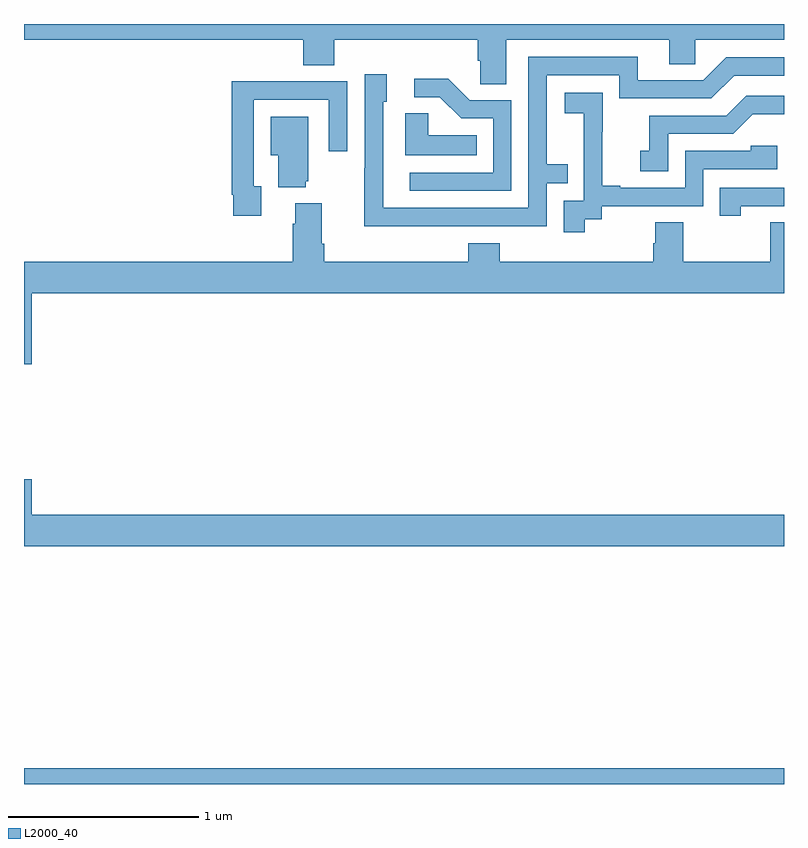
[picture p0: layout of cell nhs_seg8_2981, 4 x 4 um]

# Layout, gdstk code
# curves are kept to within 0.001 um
import gdstk
lib = gdstk.Library(unit=1e-6, precision=1e-09)
def R(c, l, rs):  # rectangles x0, y0, x1, y1
    for r in rs: c.add(gdstk.rectangle(r[:2], r[2:], *l))
def P(c, l, *ps):  # polygons
    for p in ps: c.add(gdstk.Polygon(p, *l))
L2000_40 = (2000, 40)

nhs_seg8_2981 = lib.new_cell('nhs_seg8_2981')
R(nhs_seg8_2981, L2000_40, [(297,1129.9,301,1129.984)])
P(nhs_seg8_2981, L2000_40, [(299.539,1133.816),(300.395,1133.816),(300.395,1133.689),(300.534,1133.689),(300.534,1133.816),(301,1133.816),(301,1133.9),(297,1133.9),(297,1133.816),(298.469,1133.816),(298.469,1133.683),(298.634,1133.683),(298.634,1133.816),(299.387,1133.816),(299.387,1133.707),(299.4,1133.707),(299.4,1133.584),(299.539,1133.584)],
  [(299.255,1132.836),(299.751,1132.836),(299.751,1133.061),(299.861,1133.061),(299.861,1133.162),(299.751,1133.162),(299.751,1133.631),(300.132,1133.631),(300.132,1133.508),(300.618,1133.508),(300.738,1133.628),(301,1133.628),(301,1133.724),(300.696,1133.724),(300.576,1133.604),(300.229,1133.604),(300.229,1133.727),(299.655,1133.727),(299.655,1132.932),(298.89,1132.932),(298.89,1133.49),(298.909,1133.49),(298.909,1133.635),(298.794,1133.635),(298.794,1133.141),(298.792,1133.141),(298.792,1132.835)],
  [(299.565,1133.499),(299.346,1133.499),(299.233,1133.612),(299.055,1133.612),(299.055,1133.514),(299.189,1133.514),(299.3,1133.403),(299.469,1133.403),(299.469,1133.118),(299.031,1133.118),(299.031,1133.022),(299.565,1133.022)],
  [(298.249,1133.046),(298.209,1133.046),(298.209,1133.502),(298.605,1133.502),(298.605,1133.229),(298.701,1133.229),(298.701,1133.598),(298.385,1133.598),(298.385,1133.6),(298.093,1133.6),(298.093,1133.002),(298.101,1133.002),(298.101,1132.89),(298.249,1132.89)],
  [(299.95,1132.873),(300.042,1132.873),(300.042,1132.941),(300.576,1132.941),(300.576,1133.136),(300.965,1133.136),(300.965,1133.259),(300.825,1133.259),(300.825,1133.232),(300.48,1133.232),(300.48,1133.037),(300.139,1133.037),(300.139,1133.05),(300.044,1133.05),(300.044,1133.333),(300.045,1133.333),(300.045,1133.539),(299.847,1133.539),(299.847,1133.429),(299.945,1133.429),(299.945,1133.201),(299.946,1133.201),(299.946,1132.971),(299.841,1132.971),(299.841,1132.803),(299.95,1132.803)],
  [(300.39,1133.322),(300.732,1133.322),(300.836,1133.426),(301,1133.426),(301,1133.523),(300.8,1133.523),(300.695,1133.418),(300.292,1133.418),(300.292,1133.233),(300.243,1133.233),(300.243,1133.124),(300.39,1133.124)],
  [(299.384,1133.314),(299.127,1133.314),(299.127,1133.429),(299.006,1133.429),(299.006,1133.21),(299.384,1133.21)],
  [(298.484,1133.073),(298.495,1133.073),(298.495,1133.413),(298.298,1133.413),(298.298,1133.21),(298.337,1133.21),(298.337,1133.042),(298.484,1133.042)],
  [(300.772,1132.941),(301,1132.941),(301,1133.037),(300.661,1133.037),(300.661,1132.89),(300.772,1132.89)],
  [(297.04,1132.484),(301,1132.484),(301,1132.856),(300.928,1132.856),(300.928,1132.648),(300.471,1132.648),(300.471,1132.856),(300.323,1132.856),(300.323,1132.746),(300.311,1132.746),(300.311,1132.648),(299.504,1132.648),(299.504,1132.747),(299.339,1132.747),(299.339,1132.648),(298.58,1132.648),(298.58,1132.744),(298.567,1132.744),(298.567,1132.957),(298.427,1132.957),(298.427,1132.85),(298.415,1132.85),(298.415,1132.648),(297,1132.648),(297,1132.11),(297.04,1132.11)],
  [(301,1131.316),(297.04,1131.316),(297.04,1131.505),(297,1131.505),(297,1131.152),(301,1131.152)])

lib.write_gds('nhs_seg8_2981.gds')
